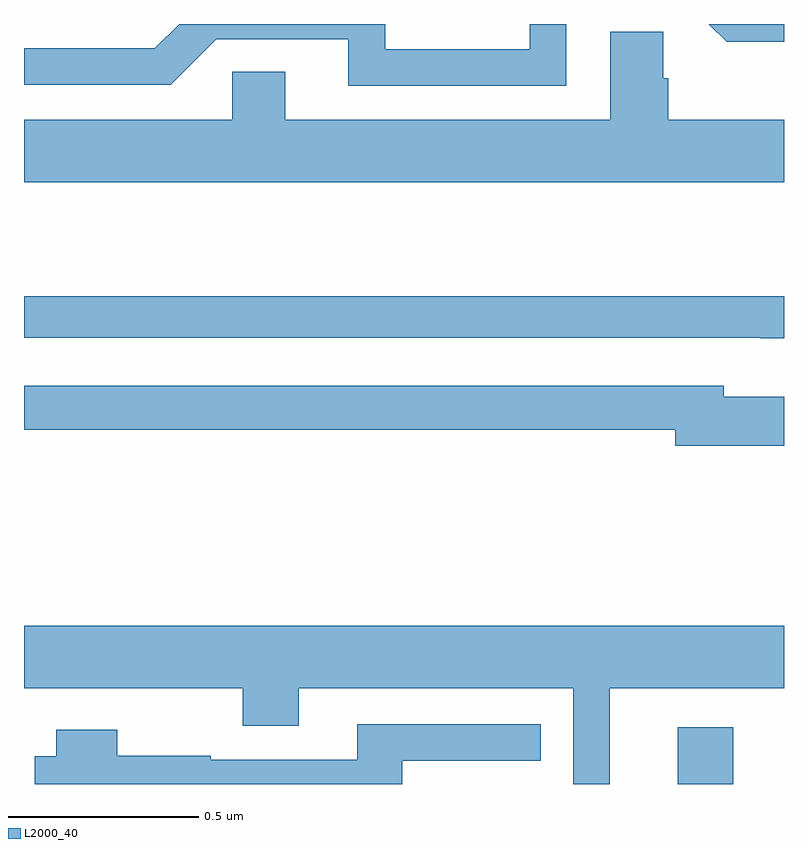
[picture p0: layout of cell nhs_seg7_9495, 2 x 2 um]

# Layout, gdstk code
import gdstk
lib = gdstk.Library(unit=1e-6, precision=1e-09)
def R(c, l, rs):  # rectangles x0, y0, x1, y1
    for r in rs: c.add(gdstk.rectangle(r[:2], r[2:], *l))
def P(c, l, *ps):  # polygons
    for p in ps: c.add(gdstk.Polygon(p, *l))
L2000_40 = (2000, 40)

nhs_seg7_9495 = lib.new_cell('nhs_seg7_9495')
R(nhs_seg7_9495, L2000_40, [(239.72,1031,239.867,1031.149)])
P(nhs_seg7_9495, L2000_40, [(239.427,1033),(239.331,1033),(239.331,1032.933),(238.95,1032.933),(238.95,1033),(238.408,1033),(238.344,1032.936),(238,1032.936),(238,1032.84),(238.386,1032.84),(238.506,1032.96),(238.853,1032.96),(238.853,1032.837),(239.427,1032.837)],
  [(240,1033),(239.802,1033),(239.849,1032.953),(240,1032.953)],
  [(240,1032.748),(239.696,1032.748),(239.696,1032.857),(239.682,1032.857),(239.682,1032.98),(239.543,1032.98),(239.543,1032.748),(238.687,1032.748),(238.687,1032.875),(238.548,1032.875),(238.548,1032.748),(238,1032.748),(238,1032.584),(240,1032.584)],
  [(240,1032.283),(238,1032.283),(238,1032.174),(239.938,1032.174),(239.938,1032.173),(240,1032.173)],
  [(240,1032.019),(239.842,1032.019),(239.842,1032.048),(238,1032.048),(238,1031.932),(239.714,1031.932),(239.714,1031.89),(240,1031.89)],
  [(239.542,1031.252),(240,1031.252),(240,1031.416),(238,1031.416),(238,1031.252),(238.576,1031.252),(238.576,1031.153),(238.723,1031.153),(238.723,1031.252),(239.445,1031.252),(239.445,1031),(239.542,1031)],
  [(238.996,1031.061),(239.36,1031.061),(239.36,1031.157),(238.877,1031.157),(238.877,1031.064),(238.491,1031.064),(238.491,1031.074),(238.245,1031.074),(238.245,1031.143),(238.085,1031.143),(238.085,1031.073),(238.028,1031.073),(238.028,1031),(238.996,1031)])

lib.write_gds('nhs_seg7_9495.gds')
